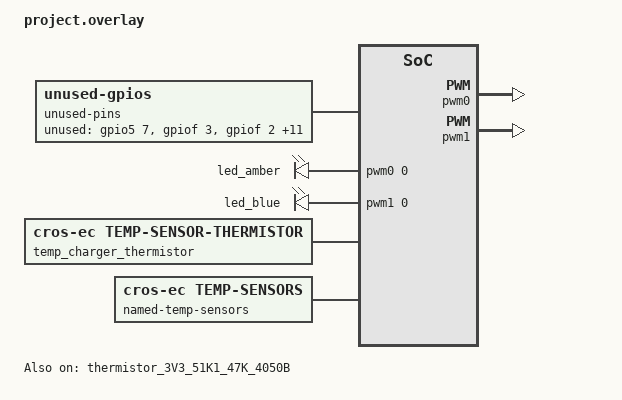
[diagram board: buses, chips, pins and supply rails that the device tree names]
/* Copyright 2024 The ChromiumOS Authors
 * Use of this source code is governed by a BSD-style license that can be
 * found in the LICENSE file.
 */

/* Corsola program common DTS includes */

#include "../common.dtsi"
#include "../power_signal.dtsi"
#include "../usba.dtsi"
#include "../npcx_adc.dtsi"
#include "../npcx_gpio.dtsi"
#include "../npcx_host_interface.dtsi"
#include "../npcx_i2c.dtsi"
#include "../npcx_interrupts.dtsi"
#include "../npcx_keyboard.dtsi"
#include "../npcx_usbc.dtsi"
#include "../npcx_default_gpio_pinctrl.dtsi"
#include <cros/thermistor/thermistor.dtsi>
#include <dt-bindings/motionsense/utils.h>
#include <dt-bindings/battery.h>

/ {
	unused-pins {
		compatible = "unused-gpios";

		unused-gpios=
			<&gpio5 7 0>,
			/* en_ec_id_odl */
			/*<&gpio7 6 0>,*/
			<&gpiof 3 0>,
			<&gpiof 2 0>,
			<&gpiod 7 0>,
			<&gpio8 3 0>,
			<&gpio8 5 0>,
			<&gpio8 6 0>,
			<&gpio9 5 0>,
			<&gpioa 6 0>,
			<&gpio4 1 0>,
			<&gpioa 5 0>,
			<&gpiob 0 0>,
			<&gpio9 3 0>,
			<&gpioa 7 0>;
	};

	batteries {
		default_battery: lges-ap23a8l {
			compatible = "lges,ap23a8l", "battery-smart";
		};
		smp_ap23a7l {
			compatible = "smp,ap23a7l", "battery-smart";
		};
	};

	cros-keyscan {
		compatible = "cros-ec,keyscan";

		debounce-down = <20000>;
		debounce-up = <20000>;

		actual-key-mask = <
			0x1c	/* C0 */
			0xff	/* C1 */
			0xff	/* C2 */
			0xff	/* C3 */
			0xff	/* C4 */
			0xf5	/* C5 */
			0xff	/* C6 */
			0xa4	/* C7 */
			0xff	/* C8 */
			0xfe	/* C9 */
			0x55	/* C10 */
			0xfa	/* C11 */
			0xca	/* C12 */
		>;
	};

	motionsense-mutex {
		compatible = "cros-ec,motionsense-mutex";
		lid_mutex: lid-mutex {
		};
		base_mutex: base-mutex {
		};
	};

	/* Rotation matrix used by drivers. */
	motionsense-rotation-ref {
		compatible = "cros-ec,motionsense-rotation-ref";
		lid_rot_lis2de12: lid-rotation-ref-lis2de12 {
			mat33 = <0 (-1) 0
				 (-1) 0 0
				 0 0 (-1)>;
		};

		base_rot_lis2de12: base-rotation-ref-lis2de12 {
			mat33 = <0 (-1) 0
				 1 0 0
				 0 0 1>;
		};
	};

	/*
	 * Driver specific data. A driver-specific data can be shared with
	 * different motion sensors while they are using the same driver.
	 *
	 * If a node's compatible starts with "cros-ec,accelgyro-", it is for
	 * a common structure defined in accelgyro.h.
	 * e.g) compatible = "cros-ec,accelgyro-als-drv-data" is for
	 * "struct als_drv_data_t" in accelgyro.h
	 */
	motionsense-sensor-data {
		lid_data: lis2de12-lid-data {
			compatible = "cros-ec,drvdata-lis2de";
			status = "okay";
		};

		base_data: lis2de12-base-data {
			compatible = "cros-ec,drvdata-lis2de";
			status = "okay";
		};
	};

	/*
	 * List of motion sensors that creates motion_sensors array.
	 * The nodelabel "lid_accel" and "base_accel" are used to indicate
	 * motion sensor IDs for lid angle calculation.
	 * TODO(b/238139272): The first entries of the array must be
	 * accelerometers,then gyroscope. Fix this dependency in the DTS
	 * processing which makes the devicetree entries independent.
	 */
	motionsense-sensor {
		lid_accel: lid-accel {
			compatible = "cros-ec,lis2de";
			status = "okay";

			active-mask = "SENSOR_ACTIVE_S0_S3";
			location = "MOTIONSENSE_LOC_LID";
			mutex = <&lid_mutex>;
			port = <&i2c_sensor>;
			rot-standard-ref = <&lid_rot_lis2de12>;
			default-range = <2>;
			drv-data = <&lid_data>;
			i2c-spi-addr-flags = "LIS2DH_ADDR0_FLAGS";
			configs {
				compatible =
					"cros-ec,motionsense-sensor-config";
				ec-s0 {
					odr = <(12500 | ROUND_UP_FLAG)>;
				};
				ec-s3 {
					odr = <(12500 | ROUND_UP_FLAG)>;
				};
			};
		};

		base_accel: base-accel {
			compatible = "cros-ec,lis2de";
			status = "okay";

			active-mask = "SENSOR_ACTIVE_S0_S3";
			location = "MOTIONSENSE_LOC_BASE";
			mutex = <&base_mutex>;
			port = <&i2c_sensor>;
			rot-standard-ref = <&base_rot_lis2de12>;
			default-range = <2>;
			drv-data = <&base_data>;
			i2c-spi-addr-flags = "LIS2DH_ADDR1_FLAGS";
			configs {
				compatible =
					"cros-ec,motionsense-sensor-config";
				ec-s0 {
					odr = <(12500 | ROUND_UP_FLAG)>;
					ec-rate = <(100 * USEC_PER_MSEC)>;
				};
				ec-s3 {
					odr = <(12500 | ROUND_UP_FLAG)>;
					ec-rate = <0>;
				};
			};
		};
	};

	motionsense-sensor-info {
		compatible = "cros-ec,motionsense-sensor-info";

		/*
		 * list of GPIO interrupts that have to
		 * be enabled at initial stage
		 */
		/* list of sensors in force mode */
		accel-force-mode-sensors = <&lid_accel &base_accel>;
	};

	led-colors {
		compatible = "cros-ec,led-policy";

		/* Squirtle LED bat charge */
		bat-power-state-charge {
			charge-state = "LED_PWRS_CHARGE";
			/* Battery display percent range (>= Empty, <= 99%) */
			batt-lvl = <BATTERY_LEVEL_EMPTY 99>;

			battery-led {
				led-id = "EC_LED_ID_BATTERY_LED";

				color-0 {
					led-color = "LED_AMBER";
				};
			};
		};

		/* Squirtle LED bat charge, full batt-lvl */
		bat-power-state-charge-full {
			charge-state = "LED_PWRS_CHARGE";
			/* Battery display percent range (100%) */
			batt-lvl = <BATTERY_LEVEL_FULL BATTERY_LEVEL_FULL>;

			battery-led {
				led-id = "EC_LED_ID_BATTERY_LED";

				color-0 {
					led-color = "LED_BLUE";
				};
			};
		};

		/* Squirtle LED bat charge near full */
		bat-power-state-charge-near-full {
			charge-state = "LED_PWRS_CHARGE_NEAR_FULL";

			battery-led {
				led-id = "EC_LED_ID_BATTERY_LED";

				color-0 {
					led-color = "LED_BLUE";
				};
			};
		};

		/* Squirtle LED bat discharge */
		bat-power-state-discharge-s0 {
			charge-state = "LED_PWRS_DISCHARGE";
			chipset-state = "POWER_S0";

			battery-led {
				led-id = "EC_LED_ID_BATTERY_LED";

				color-0 {
					led-color = "LED_BLUE";
				};
			};
		};
		bat-power-state-discharge-s3 {
			charge-state = "LED_PWRS_DISCHARGE";
			chipset-state = "POWER_S3";

			battery-led {
				led-id = "EC_LED_ID_BATTERY_LED";

				color-0 {
					led-color = "LED_AMBER";
					period-ms = <1000>;
				};
				color-1 {
					led-color = "LED_OFF";
					period-ms = <3000>;
				};
			};
		};
		bat-power-state-discharge-s5 {
			charge-state = "LED_PWRS_DISCHARGE";
			chipset-state = "POWER_S5";

			battery-led {
				led-id = "EC_LED_ID_BATTERY_LED";

				color-0 {
					led-color = "LED_OFF";
				};
			};
		};

		/* Squirtle LED bat error */
		bat-power-state-error {
			charge-state = "LED_PWRS_ERROR";

			battery-led {
				led-id = "EC_LED_ID_BATTERY_LED";

				color-0 {
					led-color = "LED_AMBER";
					period-ms = <1000>;
				};
				color-1 {
					led-color = "LED_OFF";
					period-ms = <1000>;
				};
			};
		};

		/* Squirtle LED power idle */
		power-state-idle {
			charge-state = "LED_PWRS_IDLE";

			battery-led {
				led-id = "EC_LED_ID_BATTERY_LED";

				color-0 {
					led-color = "LED_BLUE";
				};
			};
		};

		/* Squirtle LED power forced idle */
		power-state-forced-idle {
			charge-state = "LED_PWRS_FORCED_IDLE";

			battery-led {
				led-id = "EC_LED_ID_BATTERY_LED";

				color-0 {
					led-color = "LED_AMBER";
					period-ms = <2000>;
				};
				color-1 {
					led-color = "LED_BLUE";
					period-ms = <2000>;
				};
			};
		};
	};

	pwmleds {
		compatible = "pwm-leds";

		led_amber: ec_led1_odl {
			pwms = <&pwm0 0 PWM_HZ(100) PWM_POLARITY_INVERTED>;
		};

		led_blue: ec_led2_odl {
			pwms = <&pwm1 0 PWM_HZ(100) PWM_POLARITY_INVERTED>;
		};
	};

	pwm-led-pins {
		compatible = "cros-ec,pwm-led-pins";

		battery_led: battery-led {
			led-id = "EC_LED_ID_BATTERY_LED";
			led-pwms = <&led_amber &led_blue>;

			color-off {
				led-color = "LED_OFF";
				led-values = <0 0>;
			};

			color-amber {
				led-color = "LED_AMBER";
				led-values = <100 0>;
			};

			color_blue {
				led-color = "LED_BLUE";
				led-values = <0 100>;
			};
		};
	};

	/* temp sensors */
	named-adc-channels {
		adc_temp_charger: temp-charger {
			enum-name = "ADC_TEMP_SENSOR_CHARGER";
			io-channels = <&adc0 8>;
		};
	};

	temp_charger_thermistor: charger-thermistor {
		compatible = "cros-ec,temp-sensor-thermistor";
		thermistor = <&thermistor_3V3_51K1_47K_4050B>;
		adc = <&adc_temp_charger>;
	};

	named-temp-sensors {
		compatible = "cros-ec,temp-sensors";
		temp_sensor_charger: charger-thermistor {
			temp_host_halt = <75>;
			temp_host_release_halt = <65>;
			sensor = <&temp_charger_thermistor>;
		};
	};

	usbc {
		port0@0{
			/delete-property/ bc12;
		};
		port1@1{
			/delete-property/ bc12;
		};
	};
};

&i2c1_0 {
	/delete-node/ pi3usb9201@5f;
};

&i2c2_0 {
	/delete-node/ rt1718s-bc12@40;
};

/* Amber LED */
&pwm0_gpc3 {
	drive-open-drain;
};

&pwm0 {
	status = "okay";
	clock-bus = "NPCX_CLOCK_BUS_LFCLK";
	pinctrl-0 = <&pwm0_gpc3>;
	pinctrl-names = "default";
};

/* Blue LED */
&pwm1_gpc2 {
	drive-open-drain;
};

&pwm1 {
	status = "okay";
	clock-bus = "NPCX_CLOCK_BUS_LFCLK";
	pinctrl-0 = <&pwm1_gpc2>;
	pinctrl-names = "default";
};

/* gpio overrides */
/ {
	named-gpios {
		/delete-node/ ec_pen_chg_dis_odl;
	};
};

/* interrupts overrides */
/ {
	gpio-interrupts {
		/delete-node/ base_imu;
		/delete-node/ usb_c0_bc12;
	};
};

&thermistor_3V3_51K1_47K_4050B {
	status = "okay";
};

/* adc0 overrides */
&adc0 {
	pinctrl-0 = <&adc0_chan0_gp45
		     &adc0_chan1_gp44
		     &adc0_chan2_gp43
		     &adc0_chan3_gp42
		     &adc0_chan8_gpf1>;
};
